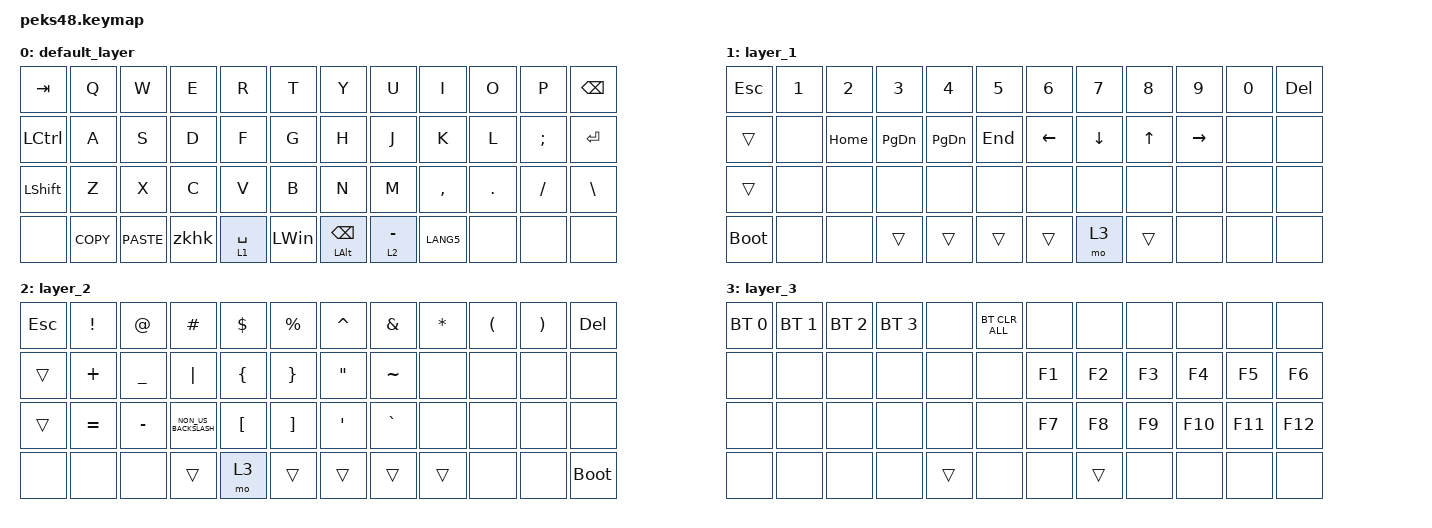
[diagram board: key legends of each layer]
#include <input/processors.dtsi>
#include <dt-bindings/zmk/input_transform.h>
#include <zephyr/dt-bindings/input/input-event-codes.h>
#include <behaviors.dtsi>
#include <dt-bindings/zmk/bt.h>
#include <dt-bindings/zmk/keys.h>

// Conversion definition for using Japanese keyboard with OS settings

#define JP_DQUOTE       AT                // "
#define JP_AMPERSAND    CARET             // &
#define JP_QUOTE        AMPERSAND         // '
#define JP_EQUAL        UNDER             // =
#define JP_CARET        EQUAL             // ^
#define JP_YEN          0x89              // ¥
#define JP_PLUS         COLON             // +
#define JP_TILDE        PLUS              // ~
#define JP_PIPE         LS(0x89)          // |
#define JP_AT           LEFT_BRACKET      // @
#define JP_COLON        SINGLE_QUOTE      // :
#define JP_ASTERISK     DOUBLE_QUOTES     // *
#define JP_BACKQUOTE    LEFT_BRACE        // `
#define JP_UNDERSCORE   LS(0x87)          // _
#define JP_LBRACKET     RIGHT_BRACKET     // [
#define JP_RBRACKET     BACKSLASH         // ]
#define JP_LPAREN       ASTERISK          // (
#define JP_RPAREN       LEFT_PARENTHESIS  // )
#define JP_LBRACE       RIGHT_BRACE       // {
#define JP_RBRACE       PIPE              // }
#define JP_KANA         LANGUAGE_1        // かな
#define JP_EISU         LANGUAGE_2        // 英数
#define JP_HANZEN       GRAVE             // 半角/全角

&mt {
    flavor = "balanced";
    quick-tap-ms = <0>;
};

/ {
    macros {
        zkhk: zkhk {
            compatible = "zmk,behavior-macro";
            #binding-cells = <0>;
            bindings =
                <&macro_press>,
                <&kp LEFT_ALT>,
                <&macro_tap>,
                <&kp GRAVE>,
                <&macro_release>,
                <&kp LEFT_ALT>;

            label = "ZKHK";
        };
    };

    keymap {
        compatible = "zmk,keymap";

        default_layer {
            bindings = <
&kp TAB     &kp Q       &kp W        &kp E  &kp R        &kp T           &kp Y                   &kp U        &kp I      &kp O    &kp P          &kp BACKSPACE
&kp LCTRL   &kp A       &kp S        &kp D  &kp F        &kp G           &kp H                   &kp J        &kp K      &kp L    &kp SEMICOLON  &kp ENTER
&kp LSHIFT  &kp Z       &kp X        &kp C  &kp V        &kp B           &kp N                   &kp M        &kp COMMA  &kp DOT  &kp SLASH      &kp BACKSLASH
&none       &kp K_COPY  &kp K_PASTE  &zkhk  &lt 1 SPACE  &kp LEFT_WIN    &mt LEFT_ALT BACKSPACE  &lt 2 MINUS  &kp LANG5  &none    &none          &none
            >;
        };

        layer_1 {
            bindings = <
&kp ESCAPE   &kp NUMBER_1  &kp NUMBER_2  &kp NUMBER_3   &kp NUMBER_4   &kp NUMBER_5    &kp NUMBER_6  &kp NUMBER_7  &kp NUMBER_8  &kp NUMBER_9  &kp NUMBER_0  &kp DEL
&trans       &none         &kp HOME      &kp PAGE_DOWN  &kp PAGE_DOWN  &kp END         &kp LEFT      &kp DOWN      &kp UP        &kp RIGHT     &none         &none
&trans       &none         &none         &none          &none          &none           &none         &none         &none         &none         &none         &none
&bootloader  &none         &none         &trans         &trans         &trans          &trans        &mo 3         &trans        &none         &none         &none
            >;
        };

        layer_2 {
            bindings = <
&kp ESCAPE  &kp EXCLAMATION  &kp AT          &kp POUND             &kp DOLLAR        &kp PERCENT          &kp CARET          &kp AMPERSAND  &kp ASTERISK  &kp LEFT_PARENTHESIS  &kp RIGHT_PARENTHESIS  &kp DEL
&trans      &kp PLUS         &kp UNDERSCORE  &kp PIPE              &kp LEFT_BRACE    &kp RIGHT_BRACE      &kp DOUBLE_QUOTES  &kp TILDE      &none         &none                 &none                  &none
&trans      &kp EQUAL        &kp MINUS       &kp NON_US_BACKSLASH  &kp LEFT_BRACKET  &kp RIGHT_BRACKET    &kp SINGLE_QUOTE   &kp GRAVE      &none         &none                 &none                  &none
&none       &none            &none           &trans                &mo 3             &trans               &trans             &trans         &trans        &none                 &none                  &bootloader
            >;
        };

        layer_3 {
            bindings = <
&bt BT_SEL 0  &bt BT_SEL 1  &bt BT_SEL 2  &bt BT_SEL 3  &none   &bt BT_CLR_ALL    &none   &none   &none   &none    &none    &none
&none         &none         &none         &none         &none   &none             &kp F1  &kp F2  &kp F3  &kp F4   &kp F5   &kp F6
&none         &none         &none         &none         &none   &none             &kp F7  &kp F8  &kp F9  &kp F10  &kp F11  &kp F12
&none         &none         &none         &none         &trans  &none             &none   &trans  &none   &none    &none    &none
            >;
        };
    };
};
